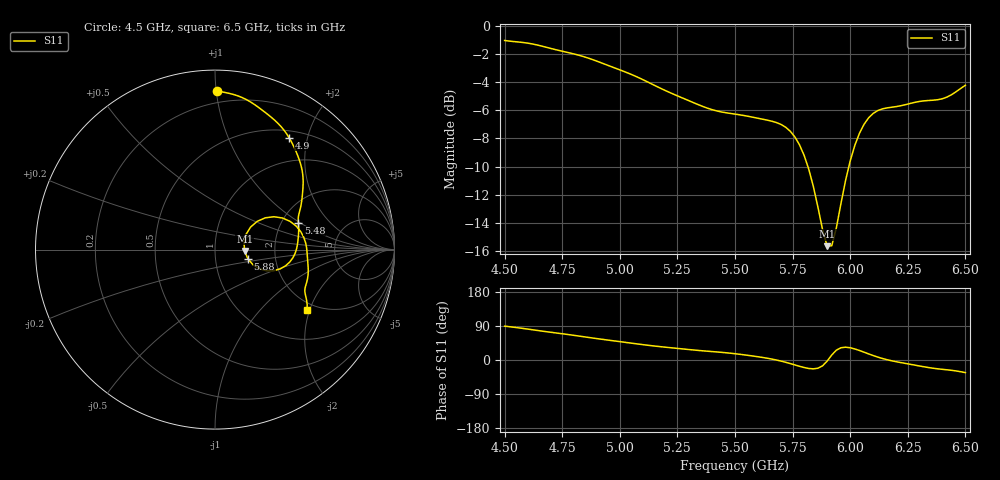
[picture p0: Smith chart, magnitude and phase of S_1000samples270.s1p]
! TOUCHSTONE file generated by CST MICROWAVE STUDIO
! Date and time: Thu Oct 27 14:16:27 2022
! Project name: L.cst
! Parameters = {Di=1.27; Epsilon_r=1.56; InnerDiameter=1.27; Length=2; Lf=10; Lg=60; OuterConductorThickness=0.2921; OuterDiameter=3.6; Wf=3; Wp=41.2; de=1.5; df=6.8; g=0.8; gx=0.815768; gy=4.50887; h=2.34; hf=1.524; px=10.9141; py=13.1602; w=9.7; wx=10.0984; wy=8.6513}
! Header version: 2018
! Port assignment regex: !\s*Touchstone port\s*([0-9]+)\s*=\s*(CST MWS port|CST DS port)\s*([0-9]+|Zmin|Zmax)\s*\(\"(.*)\"\)(\s*mode\s*([0-9]+))?.*
! Touchstone port assignment:
! Touchstone port 1 = CST MWS port 1 ("")
# GHz S DB R 50
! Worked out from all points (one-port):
!   101 points, 4.5 GHz to 6.5 GHz, reference 50 ohm
!   lowest |S11| = -15.6 dB at 5.9 GHz (marker M1), VSWR 1.40, Z = 69.8 - j1.2 ohm
!   |S11| at or under -10 dB: 5.817 GHz to 5.994 GHz (177.5 MHz wide, 3.01 % of centre)
!   S11 on the Smith chart (normalised r, x): 4.5 GHz: 0.12, +1.00; 4.9 GHz: 0.60, +1.70; 5.48 GHz: 2.46, +0.97; 5.88 GHz: 1.44, -0.15; 6.5 GHz: 1.77, -1.92
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4.5  -1.06 89.3
4.62  -1.30 79.9
4.76  -1.86 68.5
4.9  -2.52 56.5
5  -3.14 48.5
5.1  -3.83 40.5
5.26  -5.05 30.0
5.48  -6.23 17.9
5.5  -6.28 16.6
5.68  -6.87 -0.1
5.72  -7.21 -6.1
5.76  -7.90 -13.0
5.8  -9.20 -19.8
5.82  -10.17 -22.3
5.84  -11.39 -23.4
5.88  -14.45 -15.4
5.9  -15.63 -2.9
5.92  -15.60 13.2
5.94  -14.33 26.0
5.96  -12.60 32.3
6  -9.59 32.3
6.04  -7.64 25.1
6.1  -6.22 11.7
6.16  -5.84 0.8
6.26  -5.52 -11.2
6.4  -5.19 -24.6
6.46  -4.69 -28.9
6.5  -4.23 -33.4
